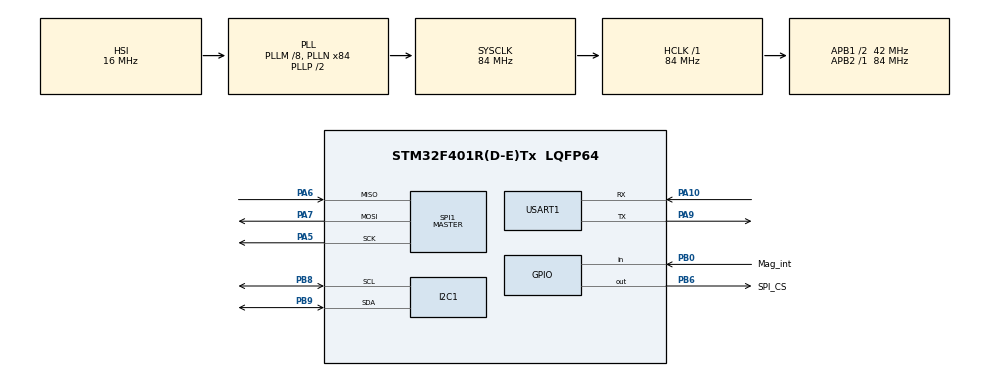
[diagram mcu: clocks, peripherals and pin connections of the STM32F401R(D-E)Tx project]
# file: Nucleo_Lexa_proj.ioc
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Mcu.Family=STM32F4
Mcu.Name=STM32F401R(D-E)Tx
Mcu.Package=LQFP64
NVIC.PriorityGroup=NVIC_PRIORITYGROUP_4
NVIC.SPI1_IRQn=true\:0\:0\:false\:false\:true\:true
PA10.Mode=Asynchronous
PA10.Signal=USART1_RX
PA13.Mode=Serial_Wire
PA13.Signal=SYS_JTMS-SWDIO
PA14.Mode=Serial_Wire
PA14.Signal=SYS_JTCK-SWCLK
PA5.Mode=Full_Duplex_Master
PA5.Signal=SPI1_SCK
PA6.Mode=Full_Duplex_Master
PA6.Signal=SPI1_MISO
PA7.Mode=Full_Duplex_Master
PA7.Signal=SPI1_MOSI
PA9.Mode=Asynchronous
PA9.Signal=USART1_TX
PB0.GPIO_Label=Mag_int
PB0.Signal=GPIO_Input
PB6.GPIO_Label=SPI_CS
PB6.Signal=GPIO_Output
PB8.Mode=I2C
PB8.Signal=I2C1_SCL
PB9.Mode=I2C
PB9.Signal=I2C1_SDA
PH0\ -\ OSC_IN.Mode=HSE-External-Oscillator
PH0\ -\ OSC_IN.Signal=RCC_OSC_IN
PH1\ -\ OSC_OUT.Mode=HSE-External-Oscillator
PH1\ -\ OSC_OUT.Signal=RCC_OSC_OUT
ProjectManager.HeapSize=0x200
ProjectManager.StackSize=0x400
ProjectManager.TargetToolchain=MDK-ARM V5
RCC.48MHZClocksFreq_Value=42000000
RCC.AHBFreq_Value=84000000
RCC.APB1CLKDivider=RCC_HCLK_DIV2
RCC.APB1Freq_Value=42000000
RCC.APB1TimFreq_Value=84000000
RCC.APB2Freq_Value=84000000
RCC.APB2TimFreq_Value=84000000
RCC.CortexFreq_Value=84000000
RCC.HCLKFreq_Value=84000000
RCC.HSE_VALUE=25000000
RCC.HSI_VALUE=16000000
RCC.LSE_VALUE=32768
RCC.PLLM=8
RCC.PLLN=84
RCC.SYSCLKFreq_VALUE=84000000
RCC.SYSCLKSource=RCC_SYSCLKSOURCE_PLLCLK
RCC.VCOOutputFreq_Value=168000000
SPI1.BaudRatePrescaler=SPI_BAUDRATEPRESCALER_8
SPI1.CLKPhase=SPI_PHASE_2EDGE
SPI1.CLKPolarity=SPI_POLARITY_HIGH
SPI1.CRCCalculation=SPI_CRCCALCULATION_DISABLE
SPI1.Direction=SPI_DIRECTION_2LINES
SPI1.Mode=SPI_MODE_MASTER
SPI1.VirtualType=VM_MASTER
USART1.VirtualMode=VM_ASYNC
board=custom

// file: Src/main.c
/* USER CODE BEGIN Header */
/**
  ******************************************************************************
  * @file           : main.c
  * @brief          : Main program body
  ******************************************************************************
  ** This notice applies to any and all portions of this file
  * that are not between comment pairs USER CODE BEGIN and
  * USER CODE END. Other portions of this file, whether
  * inserted by the user or by software development tools
  * are owned by their respective copyright owners.
  *
  * COPYRIGHT(c) 2019 STMicroelectronics
  *
  * Redistribution and use in source and binary forms, with or without modification,
  * are permitted provided that the following conditions are met:
  *   1. Redistributions of source code must retain the above copyright notice,
  *      this list of conditions and the following disclaimer.
  *   2. Redistributions in binary form must reproduce the above copyright notice,
  *      this list of conditions and the following disclaimer in the documentation
  *      and/or other materials provided with the distribution.
  *   3. Neither the name of STMicroelectronics nor the names of its contributors
  *      may be used to endorse or promote products derived from this software
  *      without specific prior written permission.
  *
  * THIS SOFTWARE IS PROVIDED BY THE COPYRIGHT HOLDERS AND CONTRIBUTORS "AS IS"
  * AND ANY EXPRESS OR IMPLIED WARRANTIES, INCLUDING, BUT NOT LIMITED TO, THE
  * IMPLIED WARRANTIES OF MERCHANTABILITY AND FITNESS FOR A PARTICULAR PURPOSE ARE
  * DISCLAIMED. IN NO EVENT SHALL THE COPYRIGHT HOLDER OR CONTRIBUTORS BE LIABLE
  * FOR ANY DIRECT, INDIRECT, INCIDENTAL, SPECIAL, EXEMPLARY, OR CONSEQUENTIAL
  * DAMAGES (INCLUDING, BUT NOT LIMITED TO, PROCUREMENT OF SUBSTITUTE GOODS OR
  * SERVICES; LOSS OF USE, DATA, OR PROFITS; OR BUSINESS INTERRUPTION) HOWEVER
  * CAUSED AND ON ANY THEORY OF LIABILITY, WHETHER IN CONTRACT, STRICT LIABILITY,
  * OR TORT (INCLUDING NEGLIGENCE OR OTHERWISE) ARISING IN ANY WAY OUT OF THE USE
  * OF THIS SOFTWARE, EVEN IF ADVISED OF THE POSSIBILITY OF SUCH DAMAGE.
  *
  ******************************************************************************
  */
/* USER CODE END Header */

#include "main.h"
#include "i2c.h"
#include "spi.h"
#include "usart.h"
#include "gpio.h"

/* USER CODE BEGIN Includes */
#include "Sensors.h"
#include "Calculations.h"
#include "mtVector.h"

/* USER CODE END Includes */

/* USER CODE BEGIN PV */
HAL_StatusTypeDef status;
struct SAccValue AccValue;

struct SMagValue MagValue;
float calibrated_values[3]={0};
/* USER CODE END PV */

void SystemClock_Config(void);

int main(void)
{
  /* USER CODE BEGIN 1 */
int16_t TEMP = 0;//MPU6050_R_2b(0x3B);//AX
int16_t WMI = 0;//MPU6050_R_2b(0x3B);//AY
int16_t ID = 0;//MPU6050_R_2b(0x3B);//AY

int32_t AXL = 0;//MPU6050_R_2b(0x3B);//AX
int32_t AYL = 0;//MPU6050_R_2b(0x3B);//AY
int32_t AZL = 0;//MPU6050_R_2b(0x3B);//AY

int32_t GXL = 0;//MPU6050_R_2b(0x3B);//AX
int32_t GYL = 0;//MPU6050_R_2b(0x3B);//AY
int32_t GZL = 0;//MPU6050_R_2b(0x3B);//AY

int32_t MXL = 0;//MPU6050_R_2b(0x3B);//AX
int32_t MYL = 0;//MPU6050_R_2b(0x3B);//AY
int32_t MZL = 0;//MPU6050_R_2b(0x3B);//AY

float FAX,FAY,FAZ,FGX,FGY,FGZ,FMX,FMY,FMZ;
  /* USER CODE END 1 */

  /* MCU Configuration--------------------------------------------------------*/

  /* Reset of all peripherals, Initializes the Flash interface and the Systick. */
  HAL_Init();

  /* Configure the system clock */
  SystemClock_Config();

  /* Initialize all configured peripherals */
  MX_GPIO_Init();
  MX_SPI1_Init();
  MX_I2C1_Init();
  MX_USART1_UART_Init();
  /* USER CODE BEGIN 2 */
init_sensors();
// __HAL_UART_ENABLE_IT(&huart2, UART_IT_TXE);
uint8_t str2[150] = "START!";
//char len = sprintf ((char*)str2, "START!");

	 HAL_UART_Transmit(&huart1, str2, 8, 100);

	//USARTSend("Dev init. 115200");
  /* USER CODE END 2 */

  /* Infinite loop */
  /* USER CODE BEGIN WHILE */
  while (1)
  {
		if(HAL_GPIO_ReadPin(Mag_int_GPIO_Port, Mag_int_Pin) == GPIO_PIN_SET)
		{
			for (int cyc = 0; cyc<100; cyc++)
	{
			 read_acc();
			 read_mag();

		char kf=240,ks=50;
	//AX = filterAX(AX,kf,ks);
	AccValue.y = filterAY(AccValue.y,kf,ks);
	AccValue.z = filterAZ(AccValue.z,kf,ks);

	/*GX = filterGX(GX,kf,ks);
	GY = filterGY(GY,kf,ks);
	GZ = filterGZ(GZ,kf,ks);*/

	MagValue.x = filterMX(MagValue.x,kf,ks);
	MagValue.y = filterMY(MagValue.y,kf,ks);
	MagValue.z = filterMZ(MagValue.z,kf,ks);

	float cof = 0.9;
	FAX = filterEXP(AccValue.x, FAX, cof);
	FAY = filterEXP(AccValue.y, FAY, cof);
	FAZ = filterEXP(AccValue.z, FAZ, cof);

	float cofM = 0.9;
	FMX = filterEXP(MagValue.x, FMX, cofM);
	FMY = filterEXP(MagValue.y, FMY, cofM);
	FMZ = filterEXP(MagValue.z, FMZ, cofM);
}

	AccValue.x=FAX;
AccValue.y=FAY;
AccValue.z=FAZ;

MagValue.x=FMX;
MagValue.y=FMY;
MagValue.z=FMZ;

if(1){

			// calibration magnetometr
	calibrated_values[0]=MagValue.x;
  calibrated_values[1]=MagValue.y;
	calibrated_values[2]=MagValue.z;
	transformation_MAG( calibrated_values);
  MagValue.x=calibrated_values[0];
	MagValue.y=calibrated_values[1];
	MagValue.z=calibrated_values[2];

	// calibration AXEL
	calibrated_values[0]=AccValue.x;
  calibrated_values[1]=AccValue.y;
	calibrated_values[2]=AccValue.z;
	transformation_AXEL( calibrated_values);
	AccValue.x=calibrated_values[0];
	AccValue.y=calibrated_values[1];
	AccValue.z=calibrated_values[2];
}
	MTVec3D Mag = { MagValue.x, MagValue.y, MagValue.z };

//MTVec3D Mag = { -MY, -MX, MZ };
MTVec3D Axl = { AccValue.x, AccValue.y, AccValue.z };

//	Mag = mtMultiplyVectorScalar(Mag,0.001);
//	Axl = mtMultiplyVectorScalar(Axl,0.001);

float Az = Fi_Azimuth(Axl, Mag);
//	Az = 368756785.57468;
//Az= 	(float)sin((double)3.0f);
ID = Az*10;

	uint8_t str[150];
//char len = sprintf (str, "START: AX%d AY%d AZ%d GX%d GY%d GZ%d MX%d MY%d MZ%d TEMP%d WMI%d ID%d END\n",AX , AY, AZ,GX,GY,GZ,MX,MY,MZ,TEMP,WMI,ID);
char len = sprintf ((char*)str, "START: AX%d AY%d AZ%d GX%d GY%d GZ%d MX%d MY%d MZ%d TEMP%d WMI%d ID%d END\r\n",AccValue.x, AccValue.y, AccValue.z,
	0,0,0,MagValue.x,MagValue.y,MagValue.z,TEMP,WMI,ID);

 HAL_UART_Transmit(&huart1, str, len, 100);
//HAL_Delay(100);
  }
    /* USER CODE END WHILE */

  }
}

void SystemClock_Config(void)
{
  RCC_OscInitTypeDef RCC_OscInitStruct = {0};
  RCC_ClkInitTypeDef RCC_ClkInitStruct = {0};

  /**Configure the main internal regulator output voltage
  */
  __HAL_RCC_PWR_CLK_ENABLE();
  __HAL_PWR_VOLTAGESCALING_CONFIG(PWR_REGULATOR_VOLTAGE_SCALE2);
  /**Initializes the CPU, AHB and APB busses clocks
  */
  RCC_OscInitStruct.OscillatorType = RCC_OSCILLATORTYPE_HSI;
  RCC_OscInitStruct.HSIState = RCC_HSI_ON;
  RCC_OscInitStruct.HSICalibrationValue = RCC_HSICALIBRATION_DEFAULT;
  RCC_OscInitStruct.PLL.PLLState = RCC_PLL_ON;
  RCC_OscInitStruct.PLL.PLLSource = RCC_PLLSOURCE_HSI;
  RCC_OscInitStruct.PLL.PLLM = 8;
  RCC_OscInitStruct.PLL.PLLN = 84;
  RCC_OscInitStruct.PLL.PLLP = RCC_PLLP_DIV2;
  RCC_OscInitStruct.PLL.PLLQ = 4;
  if (HAL_RCC_OscConfig(&RCC_OscInitStruct) != HAL_OK)
  {
    Error_Handler();
  }
  /**Initializes the CPU, AHB and APB busses clocks
  */
  RCC_ClkInitStruct.ClockType = RCC_CLOCKTYPE_HCLK|RCC_CLOCKTYPE_SYSCLK
                              |RCC_CLOCKTYPE_PCLK1|RCC_CLOCKTYPE_PCLK2;
  RCC_ClkInitStruct.SYSCLKSource = RCC_SYSCLKSOURCE_PLLCLK;
  RCC_ClkInitStruct.AHBCLKDivider = RCC_SYSCLK_DIV1;
  RCC_ClkInitStruct.APB1CLKDivider = RCC_HCLK_DIV2;
  RCC_ClkInitStruct.APB2CLKDivider = RCC_HCLK_DIV1;

  if (HAL_RCC_ClockConfig(&RCC_ClkInitStruct, FLASH_LATENCY_2) != HAL_OK)
  {
    Error_Handler();
  }
}

void Error_Handler(void)
{
}

/************************ (C) COPYRIGHT STMicroelectronics *****END OF FILE****/
